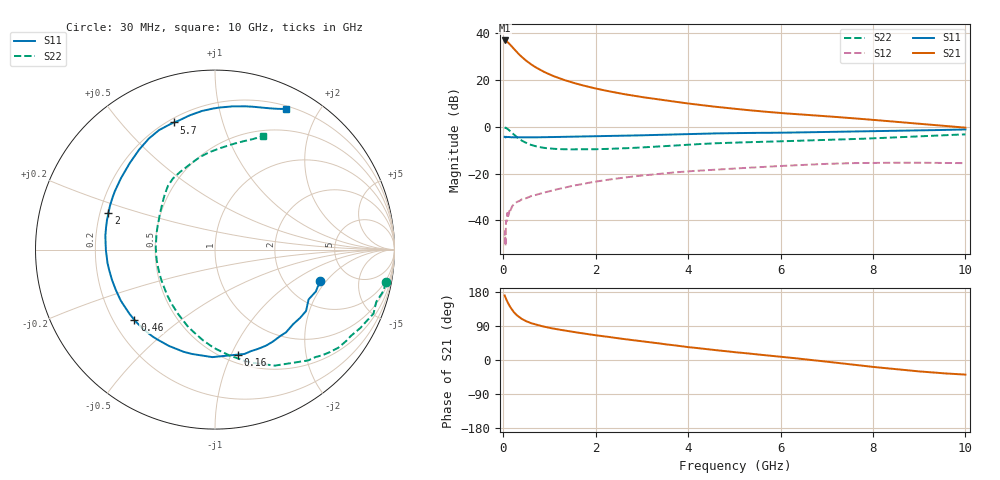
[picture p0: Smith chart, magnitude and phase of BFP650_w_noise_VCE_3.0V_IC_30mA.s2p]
! Infineon Technologies  Discrete & RF Semiconductors
! BFP650
! VCE =  3.0 V,  IC =  30 mA
! Common Emitter S-Parameters:  Jan 2016
# GHz  S  MA  R  50
!  f  S11  S21  S12  S22
! GHz  MAG  ANG  MAG  ANG  MAG  ANG  MAG  ANG
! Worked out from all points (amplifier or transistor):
!   229 points, 30 MHz to 10 GHz, reference 50 ohm
!   highest |S21| = 36.9 dB at 30 MHz (marker M1)
!   |S21| within 3 dB of that: start of sweep to 205.1 MHz
!   unconditionally stable (mu >= 1): 2.262 GHz to end of sweep
!   at 280 MHz: K = 0.33, MSG = 32.4 dB, |S12| = -32.4 dB
!   at 1.78 GHz: K = 0.96, MSG = 20.8 dB, |S12| = -24.2 dB
!   at 10 GHz: K = 1.04, MAG = 6.4 dB, |S12| = -15.5 dB
!   lowest NFmin = 0.77 dB at 450 MHz
!   S11 on the Smith chart (normalised r, x): 30 MHz: 3.12, -1.72; 160 MHz: 0.58, -1.06; 460 MHz: 0.29, -0.35; 2 GHz: 0.23, +0.16; 5.7 GHz: 0.22, +0.71; 10 GHz: 0.24, +1.60
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0.03  0.6113 -16.4  70.23 170.5  0.0047 72.8  0.9724 -10.7
0.05  0.5907 -28.0  68.84 164.2  0.0028 75.1  0.9444 -17.9
0.06  0.6119 -34.0  68.68 161.9  0.0099 74.2  0.9523 -22.0
0.1  0.6034 -52.9  64.08 151.3  0.0111 65.5  0.8907 -34.9
0.13  0.6028 -66.5  59.7 144.2  0.015 65.4  0.8386 -44.6
0.16  0.5988 -77.6  55.58 138.4  0.0168 59.7  0.788 -52.2
0.2  0.5992 -91.4  50.37 130.8  0.0205 54.8  0.7273 -62.7
0.24  0.5954 -102.3  45.52 125.0  0.0223 52.7  0.668 -71.1
0.3  0.5949 -115.6  39.22 117.6  0.0248 46.7  0.5946 -82.3
0.36  0.5959 -126.0  34.13 111.9  0.0263 47.3  0.54 -91.9
0.46  0.596 -138.9  27.8 104.6  0.0289 45.3  0.472 -105.1
0.6  0.597 -151.5  21.76 97.3  0.033 45.1  0.4115 -120.4
0.9  0.6 -168.2  14.66 87.5  0.0397 45.7  0.3527 -143.7
1.28  0.6089 178.6  10.35 78.7  0.0487 46.0  0.3319 -163.5
1.7  0.6202 167.7  7.785 70.7  0.0591 44.9  0.3291 -179.1
2  0.628 161.0  6.594 65.3  0.0671 43.3  0.3317 172.0
3.4  0.6715 136.3  3.795 43.4  0.0996 32.2  0.3805 141.8
5.1  0.7359 114.0  2.374 19.7  0.1297 17.1  0.4627 119.3
5.7  0.7439 107.8  2.091 12.3  0.14 12.1  0.4795 111.8
6.8  0.7691 97.5  1.734 -1.6  0.158 1.4  0.5171 100.4
8.4  0.8163 77.9  1.304 -23.1  0.1703 -15.6  0.5884 82.0
10  0.8769 63.3  0.959 -38.5  0.167 -28.2  0.6881 67.2
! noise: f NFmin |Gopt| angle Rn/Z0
0.45  0.77  0.08  132  2.09
0.9  0.79  0.3  -172  0.08
1.9  0.94  0.34  -160  0.06
2.4  1.01  0.35  -148  0.07
3.5  1.23  0.38  -125  0.12
